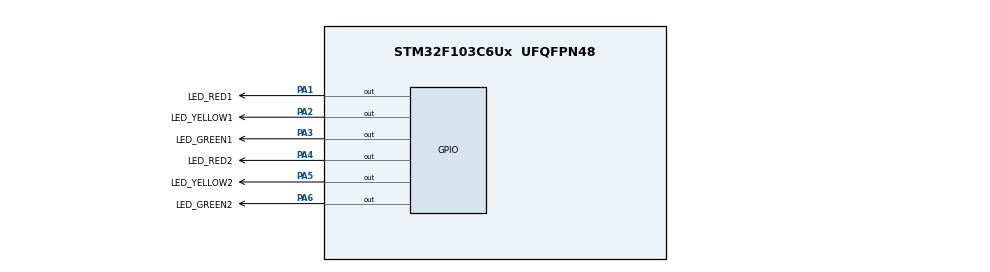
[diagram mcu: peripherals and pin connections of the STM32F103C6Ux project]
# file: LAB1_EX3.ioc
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Mcu.Family=STM32F1
Mcu.Name=STM32F103C6Ux
Mcu.Package=UFQFPN48
NVIC.PriorityGroup=NVIC_PRIORITYGROUP_4
PA1.GPIO_Label=LED_RED1
PA1.Signal=GPIO_Output
PA2.GPIO_Label=LED_YELLOW1
PA2.Signal=GPIO_Output
PA3.GPIO_Label=LED_GREEN1
PA3.Signal=GPIO_Output
PA4.GPIO_Label=LED_RED2
PA4.Signal=GPIO_Output
PA5.GPIO_Label=LED_YELLOW2
PA5.Signal=GPIO_Output
PA6.GPIO_Label=LED_GREEN2
PA6.Signal=GPIO_Output
ProjectManager.HeapSize=0x200
ProjectManager.StackSize=0x400
ProjectManager.TargetToolchain=STM32CubeIDE
RCC.APB1Freq_Value=8000000
RCC.APB2Freq_Value=8000000
VP_SYS_VS_ND.Mode=No_Debug
board=custom

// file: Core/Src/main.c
/* USER CODE BEGIN Header */
/**
  ******************************************************************************
  * @file           : main.c
  * @brief          : Main program body
  ******************************************************************************
  * @attention
  *
  * <h2><center>&copy; Copyright (c) 2025 STMicroelectronics.
  * All rights reserved.</center></h2>
  *
  * This software component is licensed by ST under BSD 3-Clause license,
  * the "License"; You may not use this file except in compliance with the
  * License. You may obtain a copy of the License at:
  *                        opensource.org/licenses/BSD-3-Clause
  *
  ******************************************************************************
  */
/* USER CODE END Header */
#include "main.h"

void SystemClock_Config(void);
static void MX_GPIO_Init(void);

int main(void)
{

  /* MCU Configuration--------------------------------------------------------*/

  /* Reset of all peripherals, Initializes the Flash interface and the Systick. */
  HAL_Init();

  /* Configure the system clock */
  SystemClock_Config();

  /* Initialize all configured peripherals */
  MX_GPIO_Init();

  /* Infinite loop */
  /* USER CODE BEGIN WHILE */
  while (1)
  {
	  HAL_GPIO_WritePin(LED_RED1_GPIO_Port, LED_RED1_Pin, GPIO_PIN_RESET);
	  HAL_GPIO_WritePin(LED_YELLOW1_GPIO_Port, LED_YELLOW1_Pin, GPIO_PIN_SET);
	  HAL_GPIO_WritePin(LED_GREEN1_GPIO_Port, LED_GREEN1_Pin, GPIO_PIN_SET);

	  HAL_GPIO_WritePin(LED_RED2_GPIO_Port, LED_RED2_Pin, GPIO_PIN_SET);
	  HAL_GPIO_WritePin(LED_YELLOW2_GPIO_Port, LED_YELLOW2_Pin, GPIO_PIN_SET);
	  HAL_GPIO_WritePin(LED_GREEN2_GPIO_Port, LED_GREEN2_Pin, GPIO_PIN_RESET);

	  HAL_Delay(5000);

	  HAL_GPIO_WritePin(LED_RED1_GPIO_Port, LED_RED1_Pin, GPIO_PIN_RESET);
	  HAL_GPIO_WritePin(LED_YELLOW1_GPIO_Port, LED_YELLOW1_Pin, GPIO_PIN_SET);
	  HAL_GPIO_WritePin(LED_GREEN1_GPIO_Port, LED_GREEN1_Pin, GPIO_PIN_SET);

	  HAL_GPIO_WritePin(LED_RED2_GPIO_Port, LED_RED2_Pin, GPIO_PIN_SET);
	  HAL_GPIO_WritePin(LED_YELLOW2_GPIO_Port, LED_YELLOW2_Pin, GPIO_PIN_RESET);
	  HAL_GPIO_WritePin(LED_GREEN2_GPIO_Port, LED_GREEN2_Pin, GPIO_PIN_SET);

	  HAL_Delay(2000);

	  HAL_GPIO_WritePin(LED_RED1_GPIO_Port, LED_RED1_Pin, GPIO_PIN_SET);
	  HAL_GPIO_WritePin(LED_YELLOW1_GPIO_Port, LED_YELLOW1_Pin, GPIO_PIN_SET);
	  HAL_GPIO_WritePin(LED_GREEN1_GPIO_Port, LED_GREEN1_Pin, GPIO_PIN_RESET);

	  HAL_GPIO_WritePin(LED_RED2_GPIO_Port, LED_RED2_Pin, GPIO_PIN_RESET);
	  HAL_GPIO_WritePin(LED_YELLOW2_GPIO_Port, LED_YELLOW2_Pin, GPIO_PIN_SET);
	  HAL_GPIO_WritePin(LED_GREEN2_GPIO_Port, LED_GREEN2_Pin, GPIO_PIN_SET);

	  HAL_Delay(3000);

	  HAL_GPIO_WritePin(LED_RED1_GPIO_Port, LED_RED1_Pin, GPIO_PIN_SET);
	  HAL_GPIO_WritePin(LED_YELLOW1_GPIO_Port, LED_YELLOW1_Pin, GPIO_PIN_RESET);
	  HAL_GPIO_WritePin(LED_GREEN1_GPIO_Port, LED_GREEN1_Pin, GPIO_PIN_SET);

	  HAL_GPIO_WritePin(LED_RED2_GPIO_Port, LED_RED2_Pin, GPIO_PIN_RESET);
	  HAL_GPIO_WritePin(LED_YELLOW2_GPIO_Port, LED_YELLOW2_Pin, GPIO_PIN_SET);
	  HAL_GPIO_WritePin(LED_GREEN2_GPIO_Port, LED_GREEN2_Pin, GPIO_PIN_SET);

	  HAL_Delay(2000);
    /* USER CODE END WHILE */

  }
}

void SystemClock_Config(void)
{
  RCC_OscInitTypeDef RCC_OscInitStruct = {0};
  RCC_ClkInitTypeDef RCC_ClkInitStruct = {0};

  /** Initializes the RCC Oscillators according to the specified parameters
  * in the RCC_OscInitTypeDef structure.
  */
  RCC_OscInitStruct.OscillatorType = RCC_OSCILLATORTYPE_HSI;
  RCC_OscInitStruct.HSIState = RCC_HSI_ON;
  RCC_OscInitStruct.HSICalibrationValue = RCC_HSICALIBRATION_DEFAULT;
  RCC_OscInitStruct.PLL.PLLState = RCC_PLL_NONE;
  if (HAL_RCC_OscConfig(&RCC_OscInitStruct) != HAL_OK)
  {
    Error_Handler();
  }
  /** Initializes the CPU, AHB and APB buses clocks
  */
  RCC_ClkInitStruct.ClockType = RCC_CLOCKTYPE_HCLK|RCC_CLOCKTYPE_SYSCLK
                              |RCC_CLOCKTYPE_PCLK1|RCC_CLOCKTYPE_PCLK2;
  RCC_ClkInitStruct.SYSCLKSource = RCC_SYSCLKSOURCE_HSI;
  RCC_ClkInitStruct.AHBCLKDivider = RCC_SYSCLK_DIV1;
  RCC_ClkInitStruct.APB1CLKDivider = RCC_HCLK_DIV1;
  RCC_ClkInitStruct.APB2CLKDivider = RCC_HCLK_DIV1;

  if (HAL_RCC_ClockConfig(&RCC_ClkInitStruct, FLASH_LATENCY_0) != HAL_OK)
  {
    Error_Handler();
  }
}

static void MX_GPIO_Init(void)
{
  GPIO_InitTypeDef GPIO_InitStruct = {0};

  /* GPIO Ports Clock Enable */
  __HAL_RCC_GPIOA_CLK_ENABLE();

  /*Configure GPIO pin Output Level */
  HAL_GPIO_WritePin(GPIOA, LED_RED1_Pin|LED_YELLOW1_Pin|LED_GREEN1_Pin|LED_RED2_Pin
                          |LED_YELLOW2_Pin|LED_GREEN2_Pin, GPIO_PIN_RESET);

  /*Configure GPIO pins : LED_RED1_Pin LED_YELLOW1_Pin LED_GREEN1_Pin LED_RED2_Pin
                           LED_YELLOW2_Pin LED_GREEN2_Pin */
  GPIO_InitStruct.Pin = LED_RED1_Pin|LED_YELLOW1_Pin|LED_GREEN1_Pin|LED_RED2_Pin
                          |LED_YELLOW2_Pin|LED_GREEN2_Pin;
  GPIO_InitStruct.Mode = GPIO_MODE_OUTPUT_PP;
  GPIO_InitStruct.Pull = GPIO_NOPULL;
  GPIO_InitStruct.Speed = GPIO_SPEED_FREQ_LOW;
  HAL_GPIO_Init(GPIOA, &GPIO_InitStruct);

}

void Error_Handler(void)
{
  __disable_irq();
  while (1)
  {
  }
}

/************************ (C) COPYRIGHT STMicroelectronics *****END OF FILE****/
